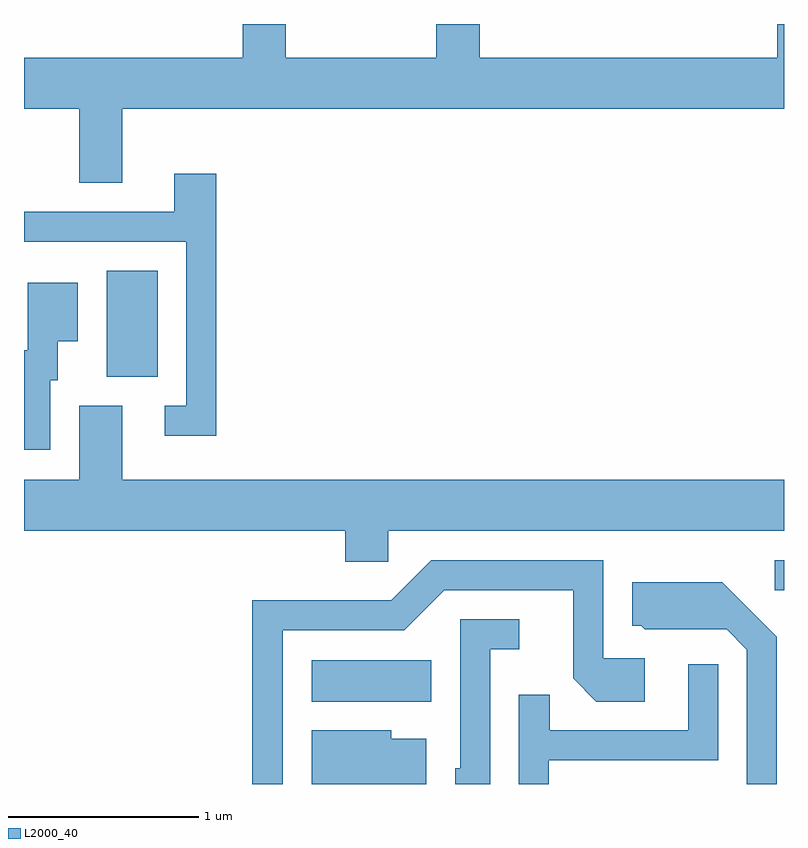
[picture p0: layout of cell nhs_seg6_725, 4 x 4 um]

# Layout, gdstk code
import gdstk
lib = gdstk.Library(unit=1e-6, precision=1e-09)
def R(c, l, rs):  # rectangles x0, y0, x1, y1
    for r in rs: c.add(gdstk.rectangle(r[:2], r[2:], *l))
def P(c, l, *ps):  # polygons
    for p in ps: c.add(gdstk.Polygon(p, *l))
L2000_40 = (2000, 40)

nhs_seg6_725 = lib.new_cell('nhs_seg6_725')
R(nhs_seg6_725, L2000_40, [(207.126,1644.596,207.754,1644.814), (209.563,1645.181,209.611,1645.339), (206.046,1646.306,206.314,1646.864)])
P(nhs_seg6_725, L2000_40, [(206.129,1647.716),(209.611,1647.716),(209.611,1648.162),(209.576,1648.162),(209.576,1647.984),(208.009,1647.984),(208.009,1648.162),(207.781,1648.162),(207.781,1647.984),(206.989,1647.984),(206.989,1648.162),(206.761,1648.162),(206.761,1647.984),(205.611,1647.984),(205.611,1647.716),(205.901,1647.716),(205.901,1647.326),(206.129,1647.326)],
  [(206.624,1647.374),(206.401,1647.374),(206.401,1647.174),(205.611,1647.174),(205.611,1647.016),(206.466,1647.016),(206.466,1646.154),(206.353,1646.154),(206.353,1645.996),(206.624,1645.996)],
  [(205.749,1646.286),(205.789,1646.286),(205.789,1646.491),(205.894,1646.491),(205.894,1646.799),(205.631,1646.799),(205.631,1646.444),(205.611,1646.444),(205.611,1645.921),(205.749,1645.921)],
  [(207.529,1645.496),(209.611,1645.496),(209.611,1645.764),(206.129,1645.764),(206.129,1646.154),(205.901,1646.154),(205.901,1645.764),(205.611,1645.764),(205.611,1645.496),(207.301,1645.496),(207.301,1645.331),(207.529,1645.331)],
  [(206.974,1644.971),(207.612,1644.971),(207.822,1645.181),(208.501,1645.181),(208.501,1644.719),(208.624,1644.596),(208.879,1644.596),(208.879,1644.824),(208.659,1644.824),(208.659,1645.339),(207.754,1645.339),(207.544,1645.129),(206.811,1645.129),(206.811,1644.162),(206.974,1644.162)],
  [(209.574,1644.937),(209.287,1645.224),(208.811,1645.224),(208.811,1644.996),(208.859,1644.996),(208.879,1644.976),(209.309,1644.976),(209.416,1644.869),(209.416,1644.162),(209.574,1644.162)],
  [(208.064,1644.871),(208.218,1644.871),(208.218,1645.029),(207.906,1645.029),(207.906,1644.244),(207.881,1644.244),(207.881,1644.162),(208.064,1644.162)],
  [(208.374,1644.286),(209.264,1644.286),(209.264,1644.793),(209.106,1644.793),(209.106,1644.444),(208.379,1644.444),(208.379,1644.633),(208.216,1644.633),(208.216,1644.162),(208.374,1644.162)],
  [(207.729,1644.399),(207.544,1644.399),(207.544,1644.444),(207.126,1644.444),(207.126,1644.162),(207.729,1644.162)])

lib.write_gds('nhs_seg6_725.gds')
